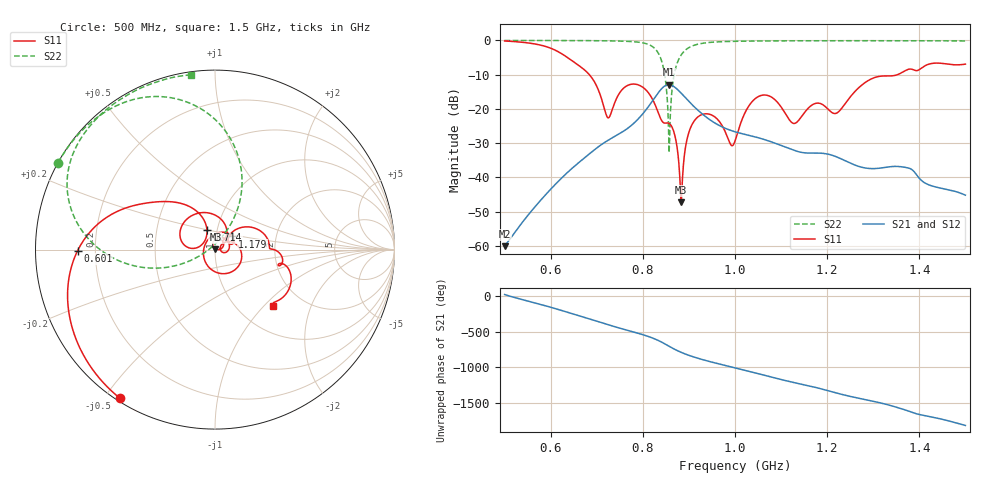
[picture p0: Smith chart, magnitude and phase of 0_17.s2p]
! TOUCHSTONE file generated by CST MICROWAVE STUDIO
! Date and time: Mon Sep 28 14:08:47 2020
! Project name: Scenario_1_Free_SPace.cst
! Parameters = {dx1=450.3; L_HA=400; MT=2.54; Rad_Dielectric=30; Rad_Lower=7.3; Rad_Upper=30; a_HA=580; a_WG=246; b_HA=500; b_WG=121; c_HA=0; c_WG=187; d_feed=85; h_feed=15; h_lower=18; h_upper=40}
! Header version: 2018
! Port assignment regex: !\s*Touchstone port\s*([0-9]+)\s*=\s*(CST MWS port|CST DS port)\s*([0-9]+|Zmin|Zmax)\s*\(\"(.*)\"\)(\s*mode\s*([0-9]+))?.*
! Touchstone port assignment:
! Touchstone port 1 = CST MWS port 1 ("")
! Touchstone port 2 = CST MWS port 2 ("")
# GHz S DB R 50
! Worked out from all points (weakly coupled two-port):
!   1003 points, 500 MHz to 1.5 GHz, reference 50 ohm
!   highest |S21| = -12.92 dB at 856 MHz (marker M1); lowest = -60.1 dB at 500 MHz (marker M2)
!   lowest |S11| = -47.3 dB at 883 MHz (marker M3), VSWR 1.01, Z = 50.3 + j0.352 ohm
!   |S11| at or under -10 dB: 683.9 MHz to 1.352 GHz (668.4 MHz wide, 65.7 % of centre)
!   |S22| runs from -32.7 to 0.0 dB; largest |S21 - S12| = 0.0001
!   S11 on the Smith chart (normalised r, x): 500 MHz: 0.01, -0.55; 601 MHz: 0.13, -0.00; 714 MHz: 0.89, +0.19; 1.179 GHz: 1.20, +0.18; 1.5 GHz: 1.42, -1.13
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0.5  -0.15 -122.8  -60.05 22.8  -60.05 22.8  -0.01 151.1
0.601  -2.32 -179.5  -43.29 -157.5  -43.29 -157.4  -0.02 144.0
0.667  -7.91 138.3  -34.98 74.4  -34.98 74.4  -0.04 138.3
0.714  -18.71 112.6  -30.04 -19.1  -30.04 -19.1  -0.10 133.0
0.726  -22.55 150.5  -29.03 -43.5  -29.03 -43.5  -0.12 131.4
0.754  -14.52 167.5  -26.85 -96.8  -26.85 -96.8  -0.20 126.7
0.784  -12.77 126.2  -23.72 -150.4  -23.72 -150.4  -0.41 118.9
0.834  -21.28 48.0  -15.18 96.6  -15.18 96.6  -3.81 83.6
0.846  -24.08 51.6  -13.44 56.5  -13.44 56.5  -8.93 65.6
0.856  -24.16 44.2  -12.92 19.9  -12.92 19.9  -27.04 73.2
0.871  -28.66 10.0  -13.83 -32.4  -13.83 -32.4  -8.16 -164.9
0.883  -47.27 54.0  -15.36 -68.3  -15.36 -68.3  -4.28 -178.0
0.899  -27.23 104.0  -17.69 -108.6  -17.69 -108.6  -2.17 169.4
0.921  -22.16 58.7  -20.53 -154.6  -20.53 -154.6  -1.05 158.2
1  -29.39 27.9  -26.66 74.1  -26.66 74.1  -0.26 140.2
1.052  -16.29 -13.6  -28.46 -10.9  -28.46 -10.9  -0.17 134.2
1.127  -24.22 166.2  -32.03 -131.4  -32.03 -131.4  -0.11 127.4
1.167  -18.86 55.8  -32.88 171.6  -32.88 171.6  -0.10 124.1
1.179  -18.29 37.0  -32.88 152.4  -32.88 152.4  -0.09 123.2
1.22  -21.24 31.1  -33.96 80.7  -33.96 80.7  -0.09 120.1
1.334  -10.37 2.4  -36.90 -88.7  -36.90 -88.7  -0.09 111.4
1.5  -6.91 -44.4  -45.16 -15.0  -45.15 -15.0  -0.15 97.9
